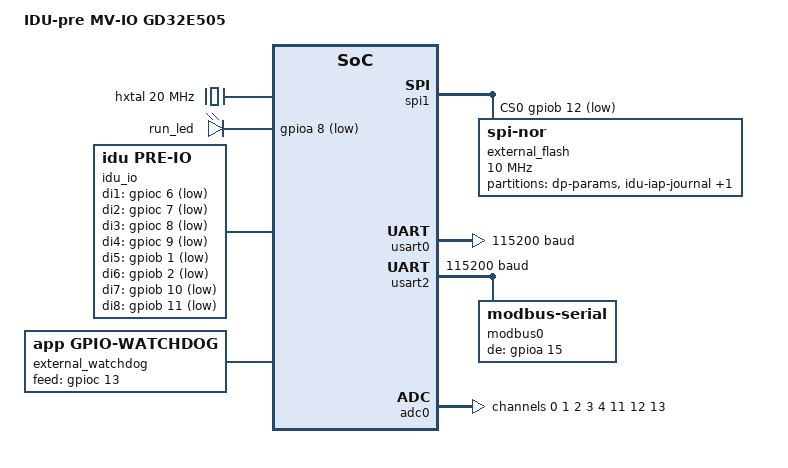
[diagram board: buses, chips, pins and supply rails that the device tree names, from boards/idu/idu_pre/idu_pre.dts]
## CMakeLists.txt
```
cmake_minimum_required(VERSION 3.20.0)

list(APPEND BOARD_ROOT ${CMAKE_CURRENT_SOURCE_DIR})
list(APPEND DTS_ROOT ${CMAKE_CURRENT_SOURCE_DIR})
include(${CMAKE_CURRENT_SOURCE_DIR}/modules/modules.cmake)
find_package(Zephyr REQUIRED HINTS $ENV{ZEPHYR_BASE})
project(idu_pre)

add_subdirectory(app)
```

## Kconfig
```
mainmenu "IDU-pre"

source "Kconfig.zephyr"
rsource "app/Kconfig"

config IDU_PRE
    bool
    default y
    select REBOOT
```

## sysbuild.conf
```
SB_CONFIG_BOOTLOADER_MCUBOOT=y
SB_CONFIG_MCUBOOT_MODE_SWAP_SCRATCH=y
SB_CONFIG_BOOT_SIGNATURE_TYPE_ECDSA_P256=y
```

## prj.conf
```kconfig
CONFIG_GPIO=y
CONFIG_ADC=y
CONFIG_WATCHDOG_EXTERNAL=y
CONFIG_SERIAL=y
CONFIG_CONSOLE=y
CONFIG_UART_CONSOLE=y
CONFIG_UART_INTERRUPT_DRIVEN=y
CONFIG_UART_USE_RUNTIME_CONFIGURE=y
# USART0 调试控制台：命令与日志共用 Shell 后端。
CONFIG_SHELL=y
CONFIG_SHELL_MINIMAL=y
CONFIG_SHELL_HELP=y
CONFIG_SHELL_CMDS=y
CONFIG_SHELL_VT100_COMMANDS=y
CONFIG_SHELL_BACKEND_SERIAL=y
CONFIG_SHELL_PROMPT_UART="AIDC:~$ "
CONFIG_SHELL_STACK_SIZE=2048
CONFIG_KERNEL_SHELL=y
CONFIG_DEVICE_SHELL=y
CONFIG_SYS_HEAP_RUNTIME_STATS=y
# IAPv3 复用 Zephyr Modbus 的 ADU 结构；不启用客户端/服务端角色。
CONFIG_MODBUS=y
CONFIG_MODBUS_FP_EXTENSIONS=n
# 当前产品不运行采集和转发，模块源码保留但不参与构建。
CONFIG_DATAPROCESS=y
# 私有设备节点与本机 24 个点数据约 880 B。
CONFIG_HEAP_MEM_POOL_ADD_SIZE_DATAPROCESS=2048
# 参数暂存/持久副本和提交镜像约 2.8 KB。
CONFIG_SPI=y
CONFIG_FLASH=y
CONFIG_SPI_NOR=y
CONFIG_SPI_NOR_SFDP_RUNTIME=y
CONFIG_FLASH_MAP=y
CONFIG_FLASH_PAGE_LAYOUT=y
CONFIG_SPI_NOR_FLASH_LAYOUT_PAGE_SIZE=4096
CONFIG_LOG=y
CONFIG_LOG_MODE_DEFERRED=y
CONFIG_LOG_BLOCK_IN_THREAD=n
# USART0 Shell：查看并调整各模块已编译支持的日志级别。
CONFIG_LOG_RUNTIME_FILTERING=y
CONFIG_LOG_CMDS=y
CONFIG_MAIN_STACK_SIZE=4096
CONFIG_SYSTEM_WORKQUEUE_STACK_SIZE=2048
CONFIG_BUILD_OUTPUT_HEX=y
CONFIG_BUILD_OUTPUT_BIN=y
CONFIG_KERNEL_BIN_NAME="IDU-pre"
```

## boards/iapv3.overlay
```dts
/* IAP 暂存区和独立的 NVS 结果日志。 */
/ {
    chosen {
        iap,staging = &iap_staging;
        iap,journal = &iap_journal;
    };
};
&{/soc/spi@40003800/flash@0/partitions} {
    iap_journal: partition@18000 {
        label = "idu-iap-journal";
        reg = <0x18000 0x4000>;
    };
    iap_staging: partition@201000 {
        label = "idu-iap-sgz";
        reg = <0x201000 0xf0000>;
    };
};
```

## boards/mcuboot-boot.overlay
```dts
#include "mcuboot.overlay"
/ {
    chosen { zephyr,code-partition = &boot_partition; };
};
```

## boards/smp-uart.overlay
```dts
/ {
    chosen { zephyr,uart-mcumgr = &usart0; };
};
```

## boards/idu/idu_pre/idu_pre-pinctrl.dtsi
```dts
/* E505 与 E507 共用这些 E50x AFIO 引脚和重映射编码。 */
#include <dt-bindings/pinctrl/gd32e507v(e-c)xx-pinctrl.h>

&pinctrl {
    debug_uart_default: debug-uart-default {
        tx { pinmux = <USART0_TX_PA9_NORMP>; };
        rx { pinmux = <USART0_RX_PA10_NORMP>; };
    };
    rs485_uart_default: rs485-uart-default {
        tx { pinmux = <USART2_TX_PC10_PRMP>; };
        rx { pinmux = <USART2_RX_PC11_PRMP>; };
    };
    flash_spi_default: flash-spi-default {
        output { pinmux = <SPI1_SCK_PB13_OUT>, <SPI1_MOSI_PB15_OUT>; };
        input { pinmux = <SPI1_MISO_PB14_INP>; };
    };
    analog_default: analog-default {
        inputs {
            pinmux = <ADC01_IN13_PC3>, <ADC01_IN0_PA0>, <ADC01_IN1_PA1>,
                     <ADC01_IN2_PA2>, <ADC01_IN3_PA3>, <ADC01_IN4_PA4>,
                     <ADC01_IN11_PC1>, <ADC01_IN12_PC2>;
        };
    };
};
```

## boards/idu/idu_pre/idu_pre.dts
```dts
/dts-v1/;

#include <mem.h>
#include <arm/gd/gd32e505.dtsi>
#include <zephyr/dt-bindings/adc/adc.h>
#include "idu_pre-pinctrl.dtsi"

/ {
    model = "IDU-pre MV-IO GD32E505";
    compatible = "idu,pre";

    hxtal: hxtal-clock {
        compatible = "fixed-clock";
        #clock-cells = <0>;
        clock-frequency = <20000000>; /* 有源振荡器接入 OSC_IN，必须启用旁路。 */
    };

    pll: pll {
        compatible = "gd,gd32e505-pll";
        #clock-cells = <0>;
        clocks = <&hxtal>;
        hxtal-bypass;
        prediv = <5>;
        mul = <45>;
        apb1-prescaler = <2>;
        apb2-prescaler = <1>;
    };

    chosen {
        zephyr,sram = &sram0;
        zephyr,flash = &flash0;
        zephyr,flash-controller = &fmc;
        zephyr,console = &usart0;
        zephyr,shell-uart = &usart0;
        zephyr,code-partition = &slot0_partition;
        iap,staging = &iap_staging;
        iap,journal = &iap_journal;
    };

    aliases {
        dp-params = &dp_params;
        led0 = &run_led;
        idu-forward = &modbus0;
        /* CO/TR 共用此 RS485 链路，用于单总线性能测试。 */
    };

    leds {
        compatible = "gpio-leds";
        run_led: run-led { gpios = <&gpioa 8 GPIO_ACTIVE_LOW>; };
    };

    idu_io: idu-io {
        compatible = "idu,pre-io";
        di-bit-order = "lsb-first";
        address-bit-order = "msb-first";
        address-offset = <1>;
        io-channels = <&adc0 13>, <&adc0 0>, <&adc0 1>, <&adc0 2>, <&adc0 3>, <&adc0 4>, <&adc0 11>, <&adc0 12>;
        io-channel-names = "current-1", "current-2", "current-3", "current-4", "current-5", "current-6", "current-7", "current-8";
        di1-gpios = <&gpioc 6 (GPIO_ACTIVE_LOW | GPIO_PULL_UP)>;
        di2-gpios = <&gpioc 7 (GPIO_ACTIVE_LOW | GPIO_PULL_UP)>;
        di3-gpios = <&gpioc 8 (GPIO_ACTIVE_LOW | GPIO_PULL_UP)>;
        di4-gpios = <&gpioc 9 (GPIO_ACTIVE_LOW | GPIO_PULL_UP)>;
        di5-gpios = <&gpiob 1 (GPIO_ACTIVE_LOW | GPIO_PULL_UP)>;
        di6-gpios = <&gpiob 2 (GPIO_ACTIVE_LOW | GPIO_PULL_UP)>;
        di7-gpios = <&gpiob 10 (GPIO_ACTIVE_LOW | GPIO_PULL_UP)>;
        di8-gpios = <&gpiob 11 (GPIO_ACTIVE_LOW | GPIO_PULL_UP)>;
        di9-gpios = <&gpioe 1 (GPIO_ACTIVE_LOW | GPIO_PULL_UP)>;
        di10-gpios = <&gpiob 8 (GPIO_ACTIVE_LOW | GPIO_PULL_UP)>;
        di11-gpios = <&gpiob 9 (GPIO_ACTIVE_LOW | GPIO_PULL_UP)>;
        di12-gpios = <&gpioe 0 (GPIO_ACTIVE_LOW | GPIO_PULL_UP)>;
        di13-gpios = <&gpioe 2 (GPIO_ACTIVE_LOW | GPIO_PULL_UP)>;
        di14-gpios = <&gpioe 3 (GPIO_ACTIVE_LOW | GPIO_PULL_UP)>;
        di15-gpios = <&gpioe 4 (GPIO_ACTIVE_LOW | GPIO_PULL_UP)>;
        di16-gpios = <&gpioe 5 (GPIO_ACTIVE_LOW | GPIO_PULL_UP)>;
        address1-gpios = <&gpiod 8 (GPIO_ACTIVE_LOW | GPIO_PULL_UP)>;
        address2-gpios = <&gpiod 9 (GPIO_ACTIVE_LOW | GPIO_PULL_UP)>;
        address3-gpios = <&gpiod 10 (GPIO_ACTIVE_LOW | GPIO_PULL_UP)>;
        address4-gpios = <&gpiod 11 (GPIO_ACTIVE_LOW | GPIO_PULL_UP)>;
    };

    soc {
        spi1: spi@40003800 {
            compatible = "gd,gd32-spi";
            reg = <0x40003800 0x400>;
            interrupts = <36 0>;
            clocks = <&cctl GD32_CLOCK_SPI1>;
            resets = <&rctl GD32_RESET_SPI1>;
            #address-cells = <1>;
            #size-cells = <0>;
            pinctrl-0 = <&flash_spi_default>;
            pinctrl-names = "default";
            cs-gpios = <&gpiob 12 GPIO_ACTIVE_LOW>;
            status = "okay";
            external_flash: flash@0 {
                compatible = "jedec,spi-nor";
                reg = <0>;
                spi-max-frequency = <10000000>;
                spi-cpol;
                spi-cpha;
                size = <33554432>; /* W25Q32：32 Mbit，需核对实际装配型号。 */
                partitions {
                    compatible = "fixed-partitions";
                    #address-cells = <1>;
                    #size-cells = <1>;
                    dp_params: partition@10000 {
                        label = "dp-params";
                        reg = <0x10000 0x4000>;
                    };
                    /* IAPv3 结果日志；偏移与既有设备保持一致，不参与参数清空。 */
                    iap_journal: partition@18000 {
                        label = "idu-iap-journal";
                        reg = <0x18000 0x4000>;
                    };
                    /* SGZ 暂存上限与 CONFIG_IAP_MAX_CONTAINER_SIZE 成对维护。 */
                    iap_staging: partition@201000 {
                        label = "idu-iap-sgz";
                        reg = <0x201000 0x80000>;
                    };
                };
            };
        };
    };
};

&flash0 {
    reg = <0x08000000 DT_SIZE_K(512)>;
    write-block-size = <4>; /* E505 FMC 支持按字编程。 */
    erase-block-size = <8192>; /* 参见 GD32E50x 用户手册第 2.3.1 节。 */
};
&sram0 { reg = <0x20000000 DT_SIZE_K(128)>; };
&gpioa { status = "okay"; };
&gpiob { status = "okay"; };
&gpioc { status = "okay"; };
&gpiod { status = "okay"; };
&gpioe { status = "okay"; };
&usart0 {
    status = "okay";
    current-speed = <115200>;
    pinctrl-0 = <&debug_uart_default>;
    pinctrl-names = "default";
};
&usart2 {
    status = "okay";
    current-speed = <115200>;
    pinctrl-0 = <&rs485_uart_default>;
    pinctrl-names = "default";
    modbus0: modbus {
        compatible = "zephyr,modbus-serial";
        de-gpios = <&gpioa 15 GPIO_ACTIVE_HIGH>;
        status = "okay";
    };
};

&adc0 {
    status = "okay";
    clock-prescaler = <6>;
    vdda-millivolts = <3300>;
    pinctrl-0 = <&analog_default>;
    pinctrl-names = "default";
    channel@0 {
        reg = <0>;
        zephyr,gain = "ADC_GAIN_1";
        zephyr,reference = "ADC_REF_VDD_1";
        zephyr,vref-mv = <3300>;
        zephyr,acquisition-time = <ADC_ACQ_TIME(ADC_ACQ_TIME_TICKS, 72)>;
        zephyr,resolution = <12>;
    };
    channel@1 {
        reg = <1>;
        zephyr,gain = "ADC_GAIN_1";
        zephyr,reference = "ADC_REF_VDD_1";
        zephyr,vref-mv = <3300>;
        zephyr,acquisition-time = <ADC_ACQ_TIME(ADC_ACQ_TIME_TICKS, 72)>;
        zephyr,resolution = <12>;
    };
    channel@2 {
        reg = <2>;
        zephyr,gain = "ADC_GAIN_1";
        zephyr,reference = "ADC_REF_VDD_1";
        zephyr,vref-mv = <3300>;
        zephyr,acquisition-time = <ADC_ACQ_TIME(ADC_ACQ_TIME_TICKS, 72)>;
        zephyr,resolution = <12>;
    };
    channel@3 {
        reg = <3>;
        zephyr,gain = "ADC_GAIN_1";
        zephyr,reference = "ADC_REF_VDD_1";
        zephyr,vref-mv = <3300>;
        zephyr,acquisition-time = <ADC_ACQ_TIME(ADC_ACQ_TIME_TICKS, 72)>;
        zephyr,resolution = <12>;
    };
    channel@4 {
        reg = <4>;
        zephyr,gain = "ADC_GAIN_1";
        zephyr,reference = "ADC_REF_VDD_1";
        zephyr,vref-mv = <3300>;
        zephyr,acquisition-time = <ADC_ACQ_TIME(ADC_ACQ_TIME_TICKS, 72)>;
        zephyr,resolution = <12>;
    };
    channel@b {
        reg = <11>;
        zephyr,gain = "ADC_GAIN_1";
        zephyr,reference = "ADC_REF_VDD_1";
        zephyr,vref-mv = <3300>;
        zephyr,acquisition-time = <ADC_ACQ_TIME(ADC_ACQ_TIME_TICKS, 72)>;
        zephyr,resolution = <12>;
    };
    channel@c {
        reg = <12>;
        zephyr,gain = "ADC_GAIN_1";
        zephyr,reference = "ADC_REF_VDD_1";
        zephyr,vref-mv = <3300>;
        zephyr,acquisition-time = <ADC_ACQ_TIME(ADC_ACQ_TIME_TICKS, 72)>;
        zephyr,resolution = <12>;
    };
    channel@d {
        reg = <13>;
        zephyr,gain = "ADC_GAIN_1";
        zephyr,reference = "ADC_REF_VDD_1";
        zephyr,vref-mv = <3300>;
        zephyr,acquisition-time = <ADC_ACQ_TIME(ADC_ACQ_TIME_TICKS, 72)>;
        zephyr,resolution = <12>;
    };
};

/* 产品镜像布局，由应用和 MCUboot 共用。 */
#include "../../../bootloader/partitions.dtsi"

/ {
    external_watchdog: external-watchdog {
        compatible = "app,gpio-watchdog";
        feed-gpios = <&gpioc 13 GPIO_ACTIVE_HIGH>;
        feed-interval-ms = <10>;
        status = "okay";
    };
};
```

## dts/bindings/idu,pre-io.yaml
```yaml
description: IDU-pre direct digital inputs, address switches
compatible: "idu,pre-io"
include: base.yaml
properties:
  io-channels:
    type: phandle-array
    required: true
    description: Analog input references identified by io-channel-names
  io-channel-names:
    type: string-array
    required: true
    description: Application names for analog inputs, independent of list order
  di1-gpios:
    type: phandle-array
    required: true
    description: Digital input 1
  di2-gpios:
    type: phandle-array
    required: true
    description: Digital input 2
  di3-gpios:
    type: phandle-array
    required: true
    description: Digital input 3
  di4-gpios:
    type: phandle-array
    required: true
    description: Digital input 4
  di5-gpios:
    type: phandle-array
    required: true
    description: Digital input 5
  di6-gpios:
    type: phandle-array
    required: true
    description: Digital input 6
  di7-gpios:
    type: phandle-array
    required: true
    description: Digital input 7
  di8-gpios:
    type: phandle-array
    required: true
    description: Digital input 8
  di9-gpios:
    type: phandle-array
    required: true
    description: Digital input 9
  di10-gpios:
    type: phandle-array
    required: true
    description: Digital input 10
  di11-gpios:
    type: phandle-array
    required: true
    description: Digital input 11
  di12-gpios:
    type: phandle-array
    required: true
    description: Digital input 12
  di13-gpios:
    type: phandle-array
    required: true
    description: Digital input 13
  di14-gpios:
    type: phandle-array
    required: true
    description: Digital input 14
  di15-gpios:
    type: phandle-array
    required: true
    description: Digital input 15
  di16-gpios:
    type: phandle-array
    required: true
    description: Digital input 16
  address1-gpios:
    type: phandle-array
    required: true
    description: Address switch input 1
  address2-gpios:
    type: phandle-array
    required: true
    description: Address switch input 2
  address3-gpios:
    type: phandle-array
    required: true
    description: Address switch input 3
  address4-gpios:
    type: phandle-array
    required: true
    description: Address switch input 4
  di-bit-order:
    type: string
    enum: ["lsb-first", "msb-first"]
    default: "lsb-first"
  address-bit-order:
    type: string
    enum: ["lsb-first", "msb-first"]
    default: "msb-first"
  address-offset:
    type: int
    default: 1
```

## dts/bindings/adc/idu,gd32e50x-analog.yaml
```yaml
description: GD32E50x application ADC acquisition with legacy MV-IO channel order
compatible: "idu,gd32e50x-analog"
include: [base.yaml, pinctrl-device.yaml]
properties:
  reg:
    required: true
  channel-order:
    type: array
    required: true
    description: Physical ADC channel IDs in application channel order
  vref-mv:
    type: int
    required: true
  pinctrl-0:
    required: true
  pinctrl-names:
    required: true
```

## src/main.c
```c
#include "idu_pre.h"
#include "idu_equip.h"
#include "idu_boot.h"
#ifdef CONFIG_IDU_IAPV3
#include "idu_iap.h"
#endif
#include <gd32_gpio.h>
#include <gd32_rcu.h>
#include <zephyr/device.h>
#include <zephyr/kernel.h>
#include <zephyr/logging/log.h>

LOG_MODULE_REGISTER(idu_pre, LOG_LEVEL_INF);

int main(void)
{
    /* PA15 is the RS485 DE signal: release JTAG while retaining SWD. */
    rcu_periph_clock_enable(RCU_AF);
    gpio_pin_remap_config(GPIO_SWJ_SWDPENABLE_REMAP, ENABLE);

    int err = idu_health_init();
    if (err) {
        LOG_ERR("External watchdog GPIO init failed: %d", err);
        return err;
    }
    err = idu_io_init();
    if (!err) {
        err = idu_analog_init();
    }
    if (!err) {
        err = idu_equipment_init();
    }
    if (err) {
        LOG_ERR("Acquisition init failed: %d", err);
        idu_health_stop();
        return err;
    }

    const struct device *flash = DEVICE_DT_GET(DT_NODELABEL(external_flash));
    LOG_INF("External flash: %s (legacy contents preserved)",
             device_is_ready(flash) ? "ready" : "not ready");
#ifdef CONFIG_IDU_IAPV3
    err = idu_iap_init();
    if (err) {
        LOG_ERR("IAP initialization failed: %d", err);
        idu_health_stop();
        return err;
    }
#endif

    struct idu_snapshot sample = {0};
#ifdef CONFIG_BOOTLOADER_MCUBOOT
    struct idu_boot_health boot_health = {0};
#endif
    while (true) {
        int64_t next_sample = k_uptime_get() + idu_sample_period_ms();
        err = idu_io_read(&sample.di, &sample.address);
        if (!err) {
            err = idu_analog_read(sample.raw);
        }
        sample.valid = err == 0;
        /* Engineering conversion now belongs to the process point table. */
        int publish_err = idu_snapshot_publish(&sample);
        if (!err) {
            err = publish_err;
        }
        if (!err && !dp_healthy(1500)) {
            err = -ETIMEDOUT;
        }
        if (err) {
            LOG_ERR("Acquisition failed: %d; watchdog feeding stopped", err);
            idu_health_stop();
            return err;
        }
        err = idu_protocol_set_address(sample.address);
        if (err) {
            LOG_ERR("Modbus init failed: %d", err);
            idu_health_stop();
            return err;
        }
        err = idu_led_toggle();
        if (err) {
            idu_health_stop();
            return err;
        }
        idu_health_kick();
#ifdef CONFIG_BOOTLOADER_MCUBOOT
        struct dp_param_status parameter_status;
        dp_params_get_status(&parameter_status);
        bool ready = device_is_ready(flash) &&
                     (parameter_status.flags & DP_PARAM_STORAGE_READY) &&
                     !(parameter_status.flags & DP_PARAM_PENDING);
        err = idu_boot_health_checkpoint(&boot_health, k_uptime_get(), ready);
        if (err) {
            idu_health_stop();
            return err;
        }
#endif
        LOG_DBG("Address=%u DI=0x%04x", sample.address, sample.di);
        int64_t delay = next_sample - k_uptime_get();
        if (delay > 0) {
            k_sleep(K_MSEC(delay));
        }
    }
}
```

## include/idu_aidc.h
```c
#ifndef IDU_AIDC_H
#define IDU_AIDC_H
#include <idu/process.h>
int idu_aidc_process(struct idu_process_ctx *ctx, struct idu_key key);
int idu_aidc_bus_init(const struct idu_equip_cfg *cfg);
int idu_aidc_serial(struct modbus_iface_param *param);
#endif
```

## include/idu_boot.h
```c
#ifndef IDU_BOOT_H
#define IDU_BOOT_H

#include <stdbool.h>
#include <stdint.h>

struct idu_boot_health {
    int64_t started, first, previous;
    bool initialized, confirmed;
};

/* Call only after each complete acquisition + forwarding + health cycle.
 * A failed or stalled cycle must never confirm a trial image. */
int idu_boot_health_checkpoint(struct idu_boot_health *state, int64_t now, bool healthy);

#endif
```

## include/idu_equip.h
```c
#ifndef IDU_EQUIP_H
#define IDU_EQUIP_H

#include "signal_ids.h"
#include "device_config.h"
#include <dataprocess/points.h>
#include <dataprocess/params.h>
#include <collect/collect.h>
#include <transmit/transmit.h>

struct modbus_user_callbacks *idu_parameter_callbacks(void);
int idu_parameter_write(uint16_t address, const uint16_t *words, size_t count);
uint16_t idu_sample_period_ms(void);

int idu_equipment_init(void);
int idu_acquisition_port_init(void); /* Returns Zephyr Modbus client iface. */

#if defined(CONFIG_IDU_COLLECT_VIRTUAL)
enum idu_virtual_write_fault {
    IDU_VIRTUAL_WRITE_OK,
    IDU_VIRTUAL_WRITE_REJECT,
    IDU_VIRTUAL_WRITE_LOSE_ACK,
    IDU_VIRTUAL_WRITE_DISCONNECT,
};
void idu_virtual_set_write_fault(enum idu_virtual_write_fault fault);
unsigned idu_virtual_write_count(void);
int idu_virtual_port_init(void);
void idu_virtual_set_online(bool online);
int idu_virtual_set_register(uint8_t function, uint16_t address, uint16_t value);
#endif

#endif
```

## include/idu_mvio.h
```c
#ifndef IDU_MVIO_H
#define IDU_MVIO_H
#include <dataprocess/points.h>
int idu_mvio_attach(int iface);
int idu_mvio_seed_address(const struct dp_point_cfg *cfg, struct dp_value *value);
int idu_mvio_prepare_address(const struct dp_point_cfg *cfg, struct dp_value *value,
                             const struct dp_value *old);
#endif
```

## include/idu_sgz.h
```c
#ifndef IDU_SGZ_H
#define IDU_SGZ_H
#include <stddef.h>
#include <stdint.h>

#define IDU_SGZ_MAX_SIZE 0xf0000u
#define IDU_IMAGE_MAX_SIZE 0x6e000u
/* Reader/writer callbacks must complete the entire operation or return errno. */
typedef int (*idu_image_read_fn)(void *ctx, uint32_t off, void *buf, size_t len);
typedef int (*idu_image_write_fn)(void *ctx, const void *buf, size_t len);
struct idu_sgz_workspace { uint8_t compressed[2304], plain[2048]; };
uint32_t idu_sgz_crc32(uint32_t crc, const void *buf, size_t len);
int idu_sgz_decrypt(uint8_t *data, size_t len, uint32_t file_offset);
int idu_sgz_unpack(idu_image_read_fn read, void *in, uint32_t received,
                   idu_image_write_fn write, void *out, struct idu_sgz_workspace *ws,
                   uint32_t *image_size);
/* Verifies this board's vectors, MCUboot SHA256, key hash and ECDSA-P256 TLVs.
 * Returns the signed image's SHA256 for the persistent upgrade journal. */
int idu_image_verify(idu_image_read_fn read, void *ctx, uint32_t available,
                      const uint8_t public_key[64], const uint8_t key_hash[32],
                      uint8_t image_hash[32]);
#endif
```

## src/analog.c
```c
/* Bounded, sequential E50x sampling. DMA migration can be added separately.
 * Upstream v4.4.2 has no E50x ADC DT node/complete ADC trigger setup.
 */
#include "idu_pre.h"
#include <errno.h>
#include <gd32_adc.h>
#include <gd32_rcu.h>
#include <zephyr/drivers/pinctrl.h>
#include <zephyr/kernel.h>
#include <zephyr/sys/util.h>

#define ADC_NODE DT_NODELABEL(idu_analog)
#define IDU_ADC_REG DT_REG_ADDR(ADC_NODE)
PINCTRL_DT_DEFINE(ADC_NODE);
static const uint8_t channel_order[] = DT_PROP(ADC_NODE, channel_order);
BUILD_ASSERT(ARRAY_SIZE(channel_order) == IDU_ANALOG_COUNT);
BUILD_ASSERT(DT_PROP(ADC_NODE, vref_mv) == 3300,
             "Legacy current conversion assumes a 3.3 V ADC reference");

static int wait_clear(uint32_t mask)
{
    int64_t deadline = k_uptime_get() + 10;
    while (ADC_CTL1(IDU_ADC_REG) & mask) {
        if (k_uptime_get() >= deadline) {
            return -ETIMEDOUT;
        }
    }
    return 0;
}

int idu_analog_init(void)
{
    int err = pinctrl_apply_state(PINCTRL_DT_DEV_CONFIG_GET(ADC_NODE),
                                  PINCTRL_STATE_DEFAULT);
    if (err) {
        return err;
    }
    rcu_periph_clock_enable(RCU_ADC0);
    rcu_adc_clock_config(RCU_CKADC_CKAPB2_DIV6);
    adc_deinit(IDU_ADC_REG);
    adc_mode_config(ADC_MODE_FREE);
    adc_special_function_config(IDU_ADC_REG, ADC_CONTINUOUS_MODE, DISABLE);
    adc_special_function_config(IDU_ADC_REG, ADC_SCAN_MODE, DISABLE);
    adc_data_alignment_config(IDU_ADC_REG, ADC_DATAALIGN_RIGHT);
    adc_resolution_config(IDU_ADC_REG, ADC_RESOLUTION_12B);
    adc_channel_length_config(IDU_ADC_REG, ADC_REGULAR_CHANNEL, 1);
    adc_external_trigger_source_config(IDU_ADC_REG, ADC_REGULAR_CHANNEL,
                                       ADC0_1_2_EXTTRIG_REGULAR_NONE);
    adc_external_trigger_config(IDU_ADC_REG, ADC_REGULAR_CHANNEL, ENABLE);
    adc_enable(IDU_ADC_REG);
    k_busy_wait(10);
    ADC_CTL1(IDU_ADC_REG) |= ADC_CTL1_RSTCLB;
    err = wait_clear(ADC_CTL1_RSTCLB);
    if (!err) {
        ADC_CTL1(IDU_ADC_REG) |= ADC_CTL1_CLB;
        err = wait_clear(ADC_CTL1_CLB);
    }
    return err;
}

int idu_analog_read(uint16_t raw[IDU_ANALOG_COUNT])
{
    for (size_t i = 0; i < ARRAY_SIZE(channel_order); ++i) {
        uint32_t sum = 0;
        adc_regular_channel_config(IDU_ADC_REG, 0, channel_order[i],
                                    ADC_SAMPLETIME_71POINT5);
        for (int sample = 0; sample < CONFIG_IDU_ADC_AVERAGE_COUNT; ++sample) {
            adc_flag_clear(IDU_ADC_REG, ADC_FLAG_EOC);
            adc_software_trigger_enable(IDU_ADC_REG, ADC_REGULAR_CHANNEL);
            int64_t deadline = k_uptime_get() + 2;
            while (!adc_flag_get(IDU_ADC_REG, ADC_FLAG_EOC)) {
                if (k_uptime_get() >= deadline) {
                    return -ETIMEDOUT;
                }
            }
            sum += adc_regular_data_read(IDU_ADC_REG);
        }
        raw[i] = sum / CONFIG_IDU_ADC_AVERAGE_COUNT;
    }
    return 0;
}
```

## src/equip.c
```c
#include "idu_equip.h"
#include "idu_pre.h"
#include <dataprocess/process.h>
#if defined(CONFIG_IDU_AIDC_PROFILE)
#include "idu_aidc.h"
#endif
#include <errno.h>
#include <zephyr/storage/flash_map.h>
#include <zephyr/logging/log.h>

LOG_MODULE_REGISTER(idu_equip, LOG_LEVEL_INF);

int idu_equipment_init(void)
{
    const struct dp_equip_cfg *cfg = idu_equipment_config();
    int err = dp_init(cfg);
    if (err) {
        return err;
    }
    int iface = idu_acquisition_port_init();
    if (iface < 0) {
        return iface;
    }
    err = co_init(cfg, iface, IS_ENABLED(CONFIG_IDU_COLLECT_VIRTUAL));
    if (err) { return err; }
#if defined(CONFIG_IDU_AIDC_PROFILE)
    err = idu_aidc_bus_init(cfg);
    if (err) { return err; }
    LOG_WRN("AIDC profile: DSP1..8 use a VIRTUAL UPP model backend");
#endif
#if defined(CONFIG_IDU_AIDC_PROFILE)
    const uint8_t storage_id = DT_FIXED_PARTITION_ID(DT_ALIAS(idu_aidc_settings));
#else
    const uint8_t storage_id = DT_FIXED_PARTITION_ID(DT_ALIAS(idu_settings));
#endif
    err = dp_params_init(cfg, storage_id);
    if (err) {
        LOG_ERR("Parameter storage unavailable (%d); writes disabled", err);
    } else {
        err = dp_params_recover();
        if (err) {
            LOG_WRN("Parameter transaction awaiting readback: %d", err);
        }
    }
    static const struct dp_process_plan process_plan = {.initialize_all = true};
    err = dp_process_start(&process_plan);
    return err ? err : co_start();
}

int idu_snapshot_publish(const struct idu_snapshot *snapshot)
{
    if (!snapshot) {
        return -EINVAL;
    }
    struct dp_point_batch batch = {.source = DP_SOURCE_LOCAL, .count = 10};
    batch.points[0] = (struct dp_point_update){
        .key = {IDU_DEV_LOCAL, IDU_SIG_ADDRESS}, .width = 1,
        .value.words = {snapshot->address}, .error = snapshot->valid ? 0 : -EIO,
    };
    batch.points[1] = (struct dp_point_update){
        .key = {IDU_DEV_LOCAL, IDU_SIG_DI}, .width = 1,
        .value.words = {snapshot->di}, .error = snapshot->valid ? 0 : -EIO,
    };
    for (unsigned i = 0; i < IDU_ANALOG_COUNT; ++i) {
        batch.points[i + 2] = (struct dp_point_update){
            .key = {IDU_DEV_LOCAL, IDU_SIG_CURRENT_1 + i}, .width = 1,
            .value.words = {snapshot->raw[i]}, .error = snapshot->valid ? 0 : -EIO,
        };
    }
    return dp_publish(&batch, K_MSEC(20));
}
```

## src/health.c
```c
#include "idu_pre.h"
#include <errno.h>
#include <zephyr/drivers/gpio.h>
#include <zephyr/kernel.h>
#include <zephyr/sys/atomic.h>

#define IO_NODE DT_NODELABEL(idu_io)
static const struct gpio_dt_spec watchdog = GPIO_DT_SPEC_GET(IO_NODE, watchdog_gpios);
static atomic_t last_progress;
static atomic_t healthy;

static void feed_watchdog(struct k_timer *timer)
{
    ARG_UNUSED(timer);
    uint32_t elapsed = k_uptime_get_32() - (uint32_t)atomic_get(&last_progress);
    if (atomic_get(&healthy) && elapsed < DT_PROP(IO_NODE, watchdog_health_ms)) {
        if (gpio_pin_toggle_dt(&watchdog)) {
            atomic_clear(&healthy);
        }
    }
}

K_TIMER_DEFINE(watchdog_timer, feed_watchdog, NULL);

int idu_health_init(void)
{
    if (!gpio_is_ready_dt(&watchdog)) {
        return -ENODEV;
    }
    int err = gpio_pin_configure_dt(&watchdog, GPIO_OUTPUT_ACTIVE);
    if (err) {
        return err;
    }
    atomic_set(&healthy, 1);
    idu_health_kick();
    k_timer_start(&watchdog_timer, K_MSEC(DT_PROP(IO_NODE, watchdog_feed_ms)),
                   K_MSEC(DT_PROP(IO_NODE, watchdog_feed_ms)));
    return 0;
}

void idu_health_kick(void)
{
    atomic_set(&last_progress, (atomic_val_t)k_uptime_get_32());
}

void idu_health_stop(void)
{
    atomic_clear(&healthy);
    k_timer_stop(&watchdog_timer);
}
```

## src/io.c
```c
#include "idu_pre.h"
#include <errno.h>
#include <zephyr/drivers/gpio.h>
#include <zephyr/sys/util.h>

#define IO_NODE DT_NODELABEL(idu_io)
#define DI_SPEC(node, prop, idx) GPIO_DT_SPEC_GET_BY_IDX(node, prop, idx),
static const struct gpio_dt_spec digital_inputs[] = {
    DT_FOREACH_PROP_ELEM(IO_NODE, di_gpios, DI_SPEC)
};
static const struct gpio_dt_spec address_switches[] = {
    DT_FOREACH_PROP_ELEM(IO_NODE, address_gpios, DI_SPEC)
};
static const struct gpio_dt_spec run_led = GPIO_DT_SPEC_GET(DT_ALIAS(led0), gpios);

BUILD_ASSERT(ARRAY_SIZE(digital_inputs) == IDU_DI_COUNT);
BUILD_ASSERT(ARRAY_SIZE(address_switches) == 4);

static int configure_inputs(const struct gpio_dt_spec *pins, size_t count)
{
    for (size_t i = 0; i < count; ++i) {
        if (!gpio_is_ready_dt(&pins[i])) {
            return -ENODEV;
        }
        int err = gpio_pin_configure_dt(&pins[i], GPIO_INPUT);
        if (err) {
            return err;
        }
    }
    return 0;
}

int idu_io_init(void)
{
    int err = configure_inputs(digital_inputs, ARRAY_SIZE(digital_inputs));
    if (!err) {
        err = configure_inputs(address_switches, ARRAY_SIZE(address_switches));
    }
    if (err) {
        return err;
    }
    if (!gpio_is_ready_dt(&run_led)) {
        return -ENODEV;
    }
    return gpio_pin_configure_dt(&run_led, GPIO_OUTPUT_ACTIVE);
}

int idu_io_read(uint16_t *di, uint8_t *address)
{
    uint16_t bits = 0;
    uint8_t switches = 0;
    for (size_t i = 0; i < ARRAY_SIZE(digital_inputs); ++i) {
        int state = gpio_pin_get_dt(&digital_inputs[i]);
        if (state < 0) {
            return state;
        }
        bits |= (uint16_t)(state << i);
    }
    for (size_t i = 0; i < ARRAY_SIZE(address_switches); ++i) {
        int state = gpio_pin_get_dt(&address_switches[i]);
        if (state < 0) {
            return state;
        }
        switches = (switches << 1) | state;
    }
    *di = bits;
    *address = switches + 1;
    return 0;
}

int idu_led_toggle(void)
{
    return gpio_pin_toggle_dt(&run_led);
}
```

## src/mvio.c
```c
/* MV-IO compatibility with io-interface-board's active DEVICE_CONFIG_MV_IO.
 * Wire addresses are literal (no 40001 adjustment). Normal IDU extensions keep
 * the standard Zephyr behavior; legacy broadcasts/247 never reach extensions.
 */
#include "idu_equip.h"
#include "idu_mvio.h"
#ifdef CONFIG_IDU_IAPV3
#include "idu_iap.h"
#endif
#include <idu/forward.h>
#include <idu/modbus_adapter.h>
#include <zephyr/storage/flash_map.h>
#include <zephyr/sys/byteorder.h>
#include <zephyr/sys/crc.h>
#include <zephyr/logging/log.h>
#include <string.h>

LOG_MODULE_REGISTER(idu_mvio, LOG_LEVEL_INF);

#if DT_NODE_EXISTS(DT_ALIAS(idu_legacy_primary)) && DT_NODE_EXISTS(DT_ALIAS(idu_legacy_backup))
static int read_legacy(uint8_t id, uint8_t *address)
{
    const struct flash_area *area;
    int err = flash_area_open(id, &area);
    if (err) { return err; }
    uint8_t metadata[4], chunk[32], first[8] = {0};
    if (area->fa_size != 4096) { err = -EINVAL; goto out; }
    err = flash_area_read(area, 4092, metadata, sizeof(metadata));
    if (err) { goto out; }
    uint16_t len = sys_get_le16(metadata), crc = 0xffff;
    if (len == 0xffff && sys_get_le16(metadata + 2) == 0xffff) {
        err = -ENOENT; goto out;
    }
    if (!len || len > 4092) { err = -EBADMSG; goto out; }
    for (size_t offset = 0; offset < len; offset += sizeof(chunk)) {
        size_t n = MIN(sizeof(chunk), len - offset);
        err = flash_area_read(area, offset, chunk, n);
        if (err) { goto out; }
        if (!offset) { memcpy(first, chunk, MIN(n, sizeof(first))); }
        crc = crc16_reflect(0xa001, crc, chunk, n);
    }
    if (crc != sys_get_le16(metadata + 2)) { err = -EBADMSG; goto out; }
    /* ARM AAPCS G_FLASH_T: u8 address, padding, LE16 type, LE32 protocol.
     * A CRC-valid unknown layout must not silently reset or overwrite NVS. */
    if (len != sizeof(first)) { err = -EPROTO; goto out; }
    *address = first[0] <= 246 ? first[0] : 1;
    LOG_INF("Import MV-IO address %u from legacy partition %u", *address, id);
out:
    flash_area_close(area);
    return err;
}
#endif

int idu_mvio_seed_address(const struct idu_point_cfg *cfg, struct idu_value *value)
{
    ARG_UNUSED(cfg);
#if DT_NODE_EXISTS(DT_ALIAS(idu_legacy_primary)) && DT_NODE_EXISTS(DT_ALIAS(idu_legacy_backup))
    uint8_t address;
    int err = read_legacy(DT_FIXED_PARTITION_ID(DT_ALIAS(idu_legacy_primary)), &address);
    if (err == -ENOENT || err == -EBADMSG) {
        err = read_legacy(DT_FIXED_PARTITION_ID(DT_ALIAS(idu_legacy_backup)), &address);
    }
    if (!err) { value->words[0] = address; }
    else if (err != -ENOENT && err != -EBADMSG) { return err; }
    else { LOG_INF("No valid legacy parameters; use MV-IO defaults"); }
#else
    ARG_UNUSED(value); /* Native core tests have no legacy flash partitions. */
#endif
    return 0;
}

int idu_mvio_prepare_address(const struct idu_point_cfg *cfg, struct idu_value *value,
                             const struct idu_value *old)
{
    ARG_UNUSED(cfg); ARG_UNUSED(old);
    /* Boot import historically permits 0; the 30459 write contract is 1..246. */
    return value->words[0] >= 1 && value->words[0] <= 246 ? 0 : -ERANGE;
}

static bool between(uint16_t value, uint16_t first, uint16_t last)
{
    return value >= first && value <= last;
}

static bool read_start(uint16_t address)
{
    return between(address, 8149, 8199) || between(address, 39278, 39286) ||
           between(address, 2503, 2532) || between(address, 4989, 5014) ||
           between(address, 2568, 2571) || address == 30459 || address == 2581 ||
           address == 5486 || address == 20003 || address == 31996 || address == 31997;
}

static bool write_start(uint16_t address)
{
    return between(address, 8149, 8199) || between(address, 39278, 39286) || address == 30459;
}

static bool extension(uint16_t address)
{
    return between(address, 10000, 10023) || between(address, 31000, 31008) ||
           between(address, 31500, 31502) || between(address, 31090, 31093) ||
           between(address, 32000, 32003) || address == 30460;
}

static bool accept(const struct modbus_adu *rx, uint8_t own, void *user)
{
    ARG_UNUSED(user);
    if (rx->length < 4 || (rx->fc != 3 && rx->fc != 4 && rx->fc != 6 && rx->fc != 16)) {
        return false;
    }
    if (rx->unit_id == 0 && rx->fc != 4 && rx->fc != 16) { return false; }
    if (rx->unit_id == own || rx->unit_id == 0) { return true; }
    return rx->unit_id == 247 && sys_get_be16(rx->data) == 30459;
}

struct legacy_span { uint16_t first, points; uint8_t width; };
/* These represent ordered callback tables, not contiguous address windows.
 * The old reader advances to the next table entry across address gaps. */
static const struct legacy_span input[] = {
    {2503,30,1}, {2568,4,1}, {2581,1,15}, {4805,10,1}, {4989,26,1},
    {5486,2,1}, {8149,1,1}, {8150,1,2}, {8152,48,1},
};
static const struct legacy_span holding[] = {
    {4885,1,1}, {8149,10,1}, {8178,10,1}, {20003,1,1}, {30459,1,1},
    {31996,2,1}, {39278,6,1}, {39284,1,2},
};

static int legacy_read(int iface, uint8_t fc, uint16_t address, uint16_t count,
                        struct modbus_adu *tx)
{
    const struct legacy_span *spans = fc == 4 ? input : holding;
    size_t nspans = fc == 4 ? ARRAY_SIZE(input) : ARRAY_SIZE(holding), span;
    uint16_t entry = 0;
    for (span = 0; span < nspans; ++span) {
        if (between(address, spans[span].first, spans[span].first + spans[span].points - 1)) {
            entry = address - spans[span].first; break;
        }
    }
    for (size_t offset = 0; offset < count;) {
        if (span == nspans) { return IDU_MODBUS_SILENT; }
        uint16_t reg = spans[span].first + entry, words[15] = {0};
        size_t width = spans[span].width;
        /* The legacy version string is an indivisible 15-register request. */
        if (width == 15 && (offset || count != 15)) { return IDU_MODBUS_SILENT; }
        if (fc == 4 || reg == 30459) {
            if (idu_forward_read(iface, fc, reg, words, width)) { return IDU_MODBUS_SILENT; }
        }
        /* Advertise only the initialized, explicitly enabled IAP transport. */
#ifdef CONFIG_IDU_IAPV3
        if (fc == 3 && idu_iap_ready()) {
            if (reg == 20003) { words[0] = 4; }
            else if (reg == 31996) { words[0] = 0x1200; }
        }
#endif
        size_t n = MIN(width, count - offset);
        for (size_t i = 0; i < n; ++i) { sys_put_be16(words[i], tx->data + 1 + 2 * (offset + i)); }
        offset += n;
        if (++entry == spans[span].points) { entry = 0; ++span; }
    }
    tx->data[0] = count * 2;
    tx->length = 1 + count * 2;
    return 0;
}

static int route(int iface, const struct modbus_adu *rx, struct modbus_adu *tx, void *user)
{
    ARG_UNUSED(user);
    if (rx->length < 4 || rx->length > sizeof(rx->data)) { return IDU_MODBUS_SILENT; }
    uint16_t address = sys_get_be16(rx->data), count = sys_get_be16(rx->data + 2);
#ifdef CONFIG_IDU_IAPV3
    int iap = idu_iap_route(iface, rx, tx);
    if (iap != -ENOENT) { return iap; }
#endif
    if (rx->unit_id != 0 && rx->unit_id != 247 && extension(address)) {
        return idu_forward_dispatch(iface, rx, tx, NULL);
    }
    if (rx->unit_id == 0 && rx->fc != 4 && rx->fc != 16) { return IDU_MODBUS_SILENT; }
    if (rx->fc == 3 || rx->fc == 4) {
        if (rx->length != 4 || !count || count > 125 || 1 + count * 2 > sizeof(tx->data) ||
            !read_start(address)) { return IDU_MODBUS_SILENT; }
        return legacy_read(iface, rx->fc, address, count, tx);
    }
    if (rx->fc == 6) {
        if (rx->length != 4) { return IDU_MODBUS_SILENT; }
        count = 1;
    } else if (rx->fc == 16) {
        if (!count || count > 123 || rx->length != 5 + 2 * count ||
            rx->data[4] != 2 * count) { return IDU_MODBUS_SILENT; }
    } else { return IDU_MODBUS_SILENT; }
    if (!write_start(address) || (uint32_t)address + count > 65536) { return IDU_MODBUS_SILENT; }
    /* MV-IO has one effective writable legacy point. Unknown entries within
     * these accepted windows are ACK-only, exactly as swSetRegData_4xReg. */
    if (address == 30459) {
        uint16_t value = sys_get_be16(rx->data + (rx->fc == 6 ? 2 : 5));
        if (value >= 1 && value <= 246 && idu_forward_write(iface, address, &value, 1)) {
            return IDU_MODBUS_SILENT; /* Never ACK a failed durable write. */
        }
    }
    tx->length = 4;
    memcpy(tx->data, rx->data, 4);
    return 0;
}

int idu_mvio_attach(int iface)
{
    const struct idu_modbus_policy policy = {.accept = accept, .legacy_broadcast = true};
    int err = idu_modbus_set_router(iface, route, NULL);
    return err ? err : idu_modbus_set_policy(iface, &policy);
}
```

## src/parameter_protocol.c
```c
#include "idu_equip.h"
#include <transmit/transmit.h>
#include <errno.h>

static int input_read(uint16_t address, uint16_t *value)
{
    return tr_read_register(4, address, value);
}

static int holding_read(uint16_t address, uint16_t *value)
{
    if (address >= 32000 && address <= 32003) {
        struct dp_param_status status;
        dp_params_get_status(&status);
        switch (address) {
        case 32000: *value = status.flags; break;
        case 32001: *value = (uint16_t)(int16_t)status.error; break;
        case 32002: *value = status.sequence & 0xffff; break;
        case 32003: *value = status.sequence >> 16; break;
        }
        return 0;
    }
    return tr_read_register(3, address, value);
}

struct modbus_user_callbacks *idu_parameter_callbacks(void)
{
    static struct modbus_user_callbacks callbacks = {
        .input_reg_rd = input_read, .holding_reg_rd = holding_read,
    };
    return &callbacks;
}

int idu_parameter_write(uint16_t address, const uint16_t *words, size_t count)
{
    if (address >= 31090 && address <= 31093) {
        if (!words || count != 1 || words[0] != (address <= 31091 ? 0xa55a : 1)) {
            return -EINVAL;
        }
        switch (address) {
        case 31090: return dp_params_restore(IDU_DEV_LOCAL);
        case 31091: return dp_params_restore(IDU_DEV_REMOTE_IO);
        case 31092: return dp_params_flush();
        case 31093: return dp_params_recover();
        }
    }
    int iface = tr_modbus_request_iface();
    return tr_write(iface < 0 ? 0 : iface, address, words, count);
}

uint16_t idu_sample_period_ms(void)
{
    struct dp_point_state state;
    int err = dp_params_read((struct dp_key){IDU_DEV_LOCAL, IDU_SIG_SAMPLE_PERIOD}, &state);
    return err ? CONFIG_IDU_SAMPLE_PERIOD_MS : state.value.words[0];
}
```

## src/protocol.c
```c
#include "idu_pre.h"
#include "idu_equip.h"
#include "idu_mvio.h"
#include <idu/modbus_adapter.h>
#include <idu/forward.h>
#include <errno.h>
#include <zephyr/kernel.h>
#include <zephyr/modbus/modbus.h>
#include <zephyr/logging/log.h>
#if defined(CONFIG_IDU_AIDC_PROFILE)
#include "idu_aidc.h"
#endif
LOG_MODULE_REGISTER(idu_protocol, LOG_LEVEL_INF);
static int interface = -1;
static bool configured, changing;
static struct modbus_iface_param active, pending;
K_MUTEX_DEFINE(protocol_lock);

static void changed(int iface, int error, void *user)
{
    ARG_UNUSED(iface); ARG_UNUSED(user);
    k_mutex_lock(&protocol_lock,K_FOREVER);
    if (!error) { active=pending; }
    if (error == -ENOTRECOVERABLE) { configured=false; }
    changing=false;
    k_mutex_unlock(&protocol_lock);
    if (error) { LOG_ERR("Serial configuration failed: %d",error); }
}

int idu_protocol_set_address(uint8_t address)
{
    if (address < 1 || address > 16) { return -EINVAL; }
    k_mutex_lock(&protocol_lock,K_FOREVER);
    if (interface < 0) {
        interface=modbus_iface_get_by_name(DEVICE_DT_NAME(DT_ALIAS(idu_forward)));
        if (interface < 0) { k_mutex_unlock(&protocol_lock); return interface; }
#if defined(CONFIG_IDU_AIDC_PROFILE)
        int attach_err = idu_forward_attach(interface,NULL);
#else
        int attach_err = idu_mvio_attach(interface);
#endif
        if (attach_err) { interface = -1; k_mutex_unlock(&protocol_lock); return attach_err; }
    }
    struct modbus_iface_param param={.mode=MODBUS_MODE_RTU,
        .server={.user_cb=idu_parameter_callbacks(),.unit_id=address},
        .serial={.baud=DT_PROP(DT_PARENT(DT_ALIAS(idu_forward)),current_speed),
                 .parity=UART_CFG_PARITY_NONE,.stop_bits=UART_CFG_STOP_BITS_1}};
#if defined(CONFIG_IDU_AIDC_PROFILE)
    int err=idu_aidc_serial(&param);
#else
    int err=0;
#endif
    if (!err && !configured) {
        err=idu_modbus_init_server(interface,param,idu_parameter_write,true);
        if (!err) { active=param; configured=true; }
    } else if (!err && !changing && (active.server.unit_id!=param.server.unit_id ||
                active.serial.baud!=param.serial.baud || active.serial.parity!=param.serial.parity ||
                active.serial.stop_bits!=param.serial.stop_bits)) {
        pending=param;
        err=idu_modbus_reconfigure(interface,param,changed,NULL);
        changing=!err;
        if (err == -EBUSY) { err = 0; } /* A recovery owns the port; retry next sample. */
    }
    k_mutex_unlock(&protocol_lock);
    /* Legacy idle/TX recovery interval: 2000 ten-millisecond ticks. */
    return err ? err : idu_modbus_service(interface, 20000);
}
```
